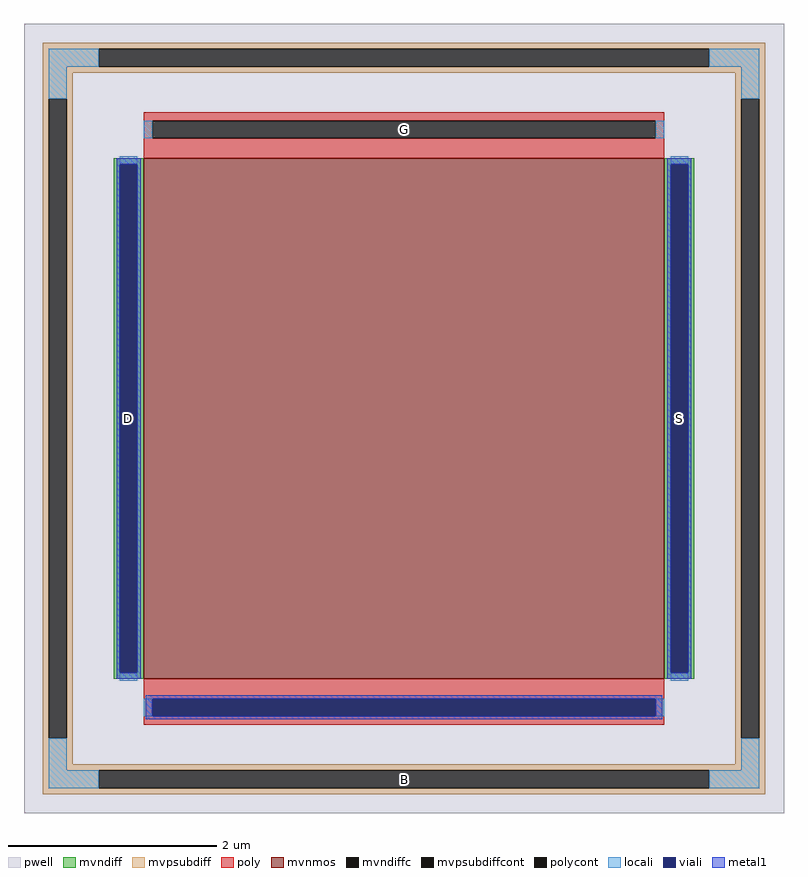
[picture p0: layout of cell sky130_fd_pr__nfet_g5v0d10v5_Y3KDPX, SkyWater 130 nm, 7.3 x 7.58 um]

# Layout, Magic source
magic
tech sky130A
magscale 1 2
<< pwell >>
rect -730 -758 730 758
<< mvnmos >>
rect -500 -500 500 500
<< mvndiff >>
rect -558 488 -500 500
rect -558 -488 -546 488
rect -512 -488 -500 488
rect -558 -500 -500 -488
rect 500 488 558 500
rect 500 -488 512 488
rect 546 -488 558 488
rect 500 -500 558 -488
<< mvndiffc >>
rect -546 -488 -512 488
rect 512 -488 546 488
<< mvpsubdiff >>
rect -694 710 694 722
rect -694 676 -586 710
rect 586 676 694 710
rect -694 664 694 676
rect -694 614 -636 664
rect -694 -614 -682 614
rect -648 -614 -636 614
rect 636 614 694 664
rect -694 -664 -636 -614
rect 636 -614 648 614
rect 682 -614 694 614
rect 636 -664 694 -614
rect -694 -676 694 -664
rect -694 -710 -586 -676
rect 586 -710 694 -676
rect -694 -722 694 -710
<< mvpsubdiffcont >>
rect -586 676 586 710
rect -682 -614 -648 614
rect 648 -614 682 614
rect -586 -710 586 -676
<< poly >>
rect -500 572 500 588
rect -500 538 -484 572
rect 484 538 500 572
rect -500 500 500 538
rect -500 -538 500 -500
rect -500 -572 -484 -538
rect 484 -572 500 -538
rect -500 -588 500 -572
<< polycont >>
rect -484 538 484 572
rect -484 -572 484 -538
<< locali >>
rect -682 676 -586 710
rect 586 676 682 710
rect -682 614 -648 676
rect 648 614 682 676
rect -500 538 -484 572
rect 484 538 500 572
rect -546 488 -512 504
rect -546 -504 -512 -488
rect 512 488 546 504
rect 512 -504 546 -488
rect -500 -572 -484 -538
rect 484 -572 500 -538
rect -682 -676 -648 -614
rect 648 -676 682 -614
rect -682 -710 -586 -676
rect 586 -710 682 -676
<< viali >>
rect -546 -488 -512 488
rect 512 -488 546 488
rect -484 -572 484 -538
<< metal1 >>
rect -552 488 -506 500
rect -552 -488 -546 488
rect -512 -488 -506 488
rect -552 -500 -506 -488
rect 506 488 552 500
rect 506 -488 512 488
rect 546 -488 552 488
rect 506 -500 552 -488
rect -496 -538 496 -532
rect -496 -572 -484 -538
rect 484 -572 496 -538
rect -496 -578 496 -572
<< labels >>
rlabel mvpsubdiffcont 0 -693 0 -693 0 B
port 1 nsew
rlabel mvndiffc -529 0 -529 0 0 D
port 2 nsew
rlabel mvndiffc 529 0 529 0 0 S
port 3 nsew
rlabel polycont 0 555 0 555 0 G
port 4 nsew
<< properties >>
string FIXED_BBOX -665 -693 665 693
string gencell sky130_fd_pr__nfet_g5v0d10v5
string library sky130
string parameters w 5 l 5 m 1 nf 1 diffcov 100 polycov 100 guard 1 glc 1 grc 1 gtc 1 gbc 1 tbcov 100 rlcov 100 topc 1 botc 1 poverlap 0 doverlap 1 lmin 0.50 wmin 0.42 class mosfet compatible {sky130_fd_pr__nfet_01v8 sky130_fd_pr__nfet_01v8_lvt  sky130_fd_bs_flash__special_sonosfet_star  sky130_fd_pr__nfet_g5v0d10v5 sky130_fd_pr__nfet_05v0_nvt  sky130_fd_pr__nfet_03v3_nvt} full_metal 1 conn_gates 0 viasrc 100 viadrn 100 viagate 100 viagb 0 viagr 0 viagl 0 viagt 0 doports 1
<< end >>
